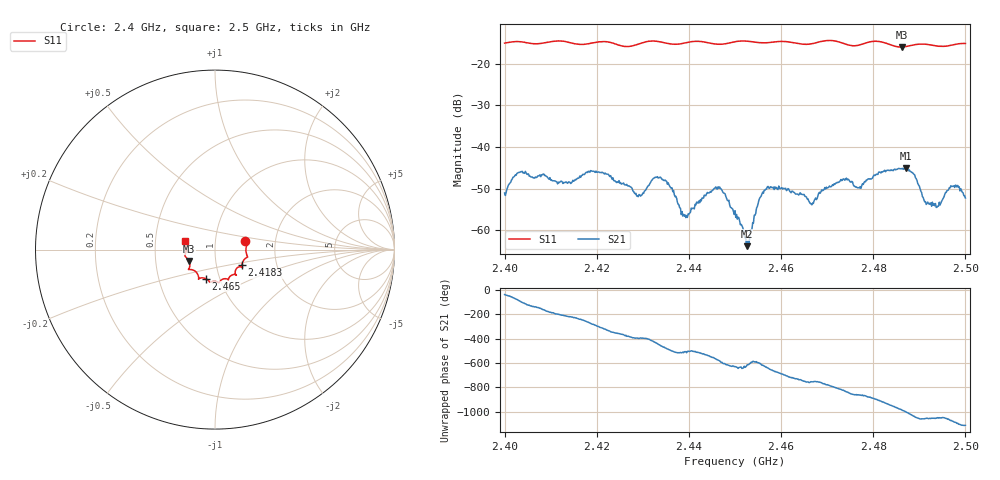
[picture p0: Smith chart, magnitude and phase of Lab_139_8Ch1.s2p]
# Hz S RI R 50
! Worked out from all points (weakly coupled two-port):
!   601 points, 2.4 GHz to 2.5 GHz, reference 50 ohm
!   highest |S21| = -45.06 dB at 2.4872 GHz (marker M1); lowest = -63.8 dB at 2.4525 GHz (marker M2)
!   lowest |S11| = -16.1 dB at 2.4862 GHz (marker M3), VSWR 1.37, Z = 37.1 - j4.82 ohm
!   |S11| at or under -10 dB: start of sweep to end of sweep
!   S12 and S22 are empty: the file has one direction only
!   S11 on the Smith chart (normalised r, x): 2.4 GHz: 1.40, +0.13; 2.4183 GHz: 1.33, -0.24; 2.465 GHz: 0.86, -0.29; 2.5 GHz: 0.71, +0.07
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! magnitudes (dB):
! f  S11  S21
! 2.4 GHz  -15.1  -51.0
! 2.4033 GHz  -14.8  -46.1
! 2.4167 GHz  -15.4  -46.9
! 2.4183 GHz  -15.2  -45.9
! 2.4292 GHz  -15.3  -51.4
! 2.4333 GHz  -14.7  -47.5
! 2.4392 GHz  -15.1  -56.3
! 2.4462 GHz  -15.4  -50.1
! 2.45 GHz  -14.8  -55.3
! 2.4525 GHz  -14.6  -63.8
! 2.4568 GHz  -15.0  -50.1
! 2.465 GHz  -15.4  -51.4
! 2.4667 GHz  -15.3  -53.9
! 2.4732 GHz  -15.0  -48.1
! 2.477 GHz  -15.6  -49.8
! 2.4833 GHz  -15.3  -45.6
! 2.4862 GHz  -16.1  -45.2
! 2.4872 GHz  -15.9  -45.1
! 2.4917 GHz  -15.4  -53.5
! 2.4942 GHz  -15.9  -54.2
! 2.4973 GHz  -15.5  -49.4
! 2.5 GHz  -15.2  -52.2
